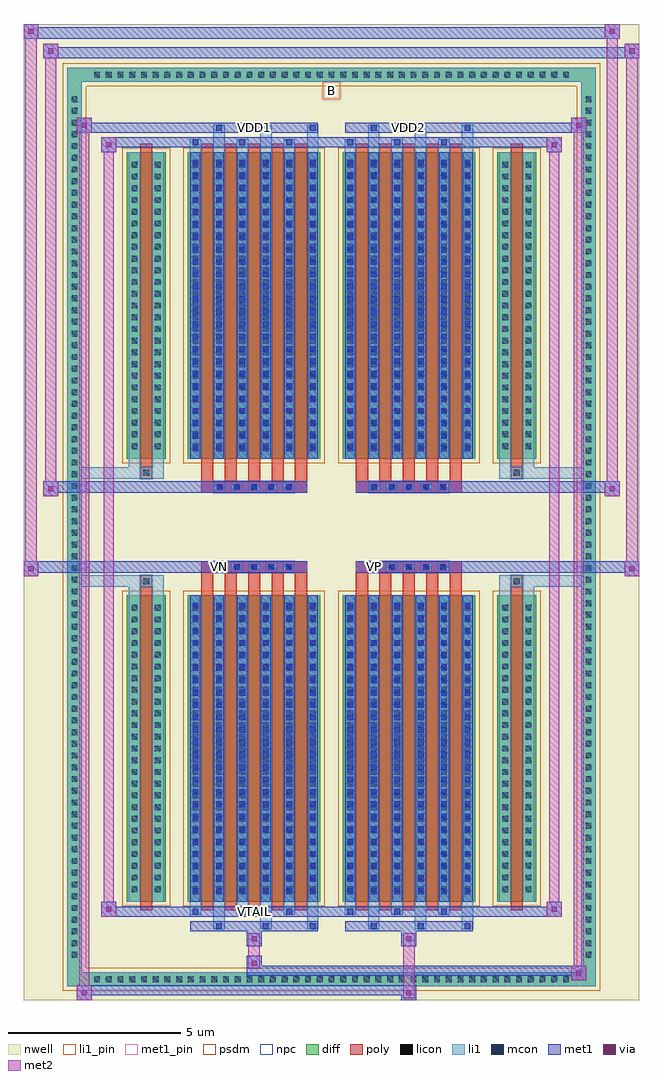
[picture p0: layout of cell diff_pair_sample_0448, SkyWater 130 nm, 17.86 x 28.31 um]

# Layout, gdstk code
import gdstk
lib = gdstk.Library(unit=1e-6, precision=5e-09)
def R(c, l, rs):  # rectangles x0, y0, x1, y1
    for r in rs: c.add(gdstk.rectangle(r[:2], r[2:], *l))
def A(c, l, x, y, w, h, nx, ny, dx, dy):  # array of equal rectangles
    R(c, l, [(x+i*dx, y+j*dy, x+i*dx+w, y+j*dy+h) for i in range(nx) for j in range(ny)])
def P(c, l, *ps):  # polygons
    for p in ps: c.add(gdstk.Polygon(p, *l))
nwell = (64, 20)
diff = (65, 20)
poly = (66, 20)
licon = (66, 44)
li1_pin = (67, 16)
li1 = (67, 20)
mcon = (67, 44)
met1_pin = (68, 16)
met1 = (68, 20)
via = (68, 44)
met2 = (69, 20)
psdm = (94, 20)
npc = (95, 20)

diff_pair_sample_0448 = lib.new_cell('diff_pair_sample_0448')
R(diff_pair_sample_0448, nwell, [(-8.93,-13.72,8.93,14.59), (-6.25,-11.91,-0.01,-0.795), (0.01,-11.91,6.25,-0.795), (-6.25,0.795,-0.01,11.91), (0.01,0.795,6.25,11.91)])
A(diff_pair_sample_0448, diff, -7.005, -13.32, 0.41, 0.41, 41, 2, 0.34, 26.23)
A(diff_pair_sample_0448, diff, -7.66, -12.615, 0.41, 0.41, 1, 74, 0, 0.34)
A(diff_pair_sample_0448, diff, 7.25, -12.615, 0.41, 0.41, 1, 74, 0, 0.34)
R(diff_pair_sample_0448, diff, [(-7.005,-13.32,7.005,-12.91), (-7.66,-12.615,-7.25,12.615), (7.25,-12.615,7.66,12.615), (-5.94,-10.865,-4.81,-1.985), (-4.17,-10.865,-0.32,-1.985), (0.32,-10.865,4.17,-1.985), (4.81,-10.865,5.94,-1.985), (-5.94,1.985,-4.81,10.865), (-4.17,1.985,-0.32,10.865), (0.32,1.985,4.17,10.865), (4.81,1.985,5.94,10.865), (-7.005,12.91,7.005,13.32)])
P(diff_pair_sample_0448, diff, [(7.66,13.32),(-7.66,13.32),(-7.66,-12.91),(-7.25,-12.91),(-7.25,12.91),(7.25,12.91),(7.25,-12.91),(-7.25,-12.91),(-7.66,-12.91),(-7.66,-13.32),(7.66,-13.32)])
A(diff_pair_sample_0448, poly, -3.78, -11.115, 0.35, 9.38, 5, 2, 0.68, 12.85)
A(diff_pair_sample_0448, poly, 0.71, -11.115, 0.35, 9.38, 5, 2, 0.68, 12.85)
A(diff_pair_sample_0448, poly, -3.78, -1.735, 0.35, 0.41, 5, 2, 0.68, 3.06)
A(diff_pair_sample_0448, poly, 0.71, -1.735, 0.35, 0.41, 5, 2, 0.68, 3.06)
A(diff_pair_sample_0448, poly, -3.41, -1.325, 0.33, 0.33, 5, 2, 0.5, 2.32)
A(diff_pair_sample_0448, poly, 1.08, -1.325, 0.33, 0.33, 5, 2, 0.5, 2.32)
R(diff_pair_sample_0448, poly, [(-5.55,-11.115,-5.2,-1.735), (5.2,-11.115,5.55,-1.735), (-5.54,-1.735,-5.21,-1.405), (-5.54,-1.735,-5.21,-1.405), (5.21,-1.735,5.54,-1.405), (5.21,-1.735,5.54,-1.405), (-3.78,-1.325,-0.71,-0.995), (0.71,-1.325,3.78,-0.995), (-3.78,0.995,-0.71,1.325), (0.71,0.995,3.78,1.325), (-5.54,1.405,-5.21,1.735), (-5.54,1.405,-5.21,1.735), (5.21,1.405,5.54,1.735), (5.21,1.405,5.54,1.735), (-5.55,1.735,-5.2,11.115), (5.2,1.735,5.55,11.115)])
A(diff_pair_sample_0448, licon, -6.885, -13.2, 0.17, 0.17, 41, 2, 0.34, 26.23)
A(diff_pair_sample_0448, licon, -7.54, -12.495, 0.17, 0.17, 1, 74, 0, 0.34)
A(diff_pair_sample_0448, licon, 7.37, -12.495, 0.17, 0.17, 1, 74, 0, 0.34)
A(diff_pair_sample_0448, licon, -5.8, -10.59, 0.17, 0.17, 1, 25, 0, 0.34)
A(diff_pair_sample_0448, licon, -5.12, -10.59, 0.17, 0.17, 1, 25, 0, 0.34)
A(diff_pair_sample_0448, licon, -4.03, -10.59, 0.17, 0.17, 6, 25, 0.68, 0.34)
A(diff_pair_sample_0448, licon, 0.46, -10.59, 0.17, 0.17, 6, 25, 0.68, 0.34)
A(diff_pair_sample_0448, licon, 4.95, -10.59, 0.17, 0.17, 1, 25, 0, 0.34)
A(diff_pair_sample_0448, licon, 5.63, -10.59, 0.17, 0.17, 1, 25, 0, 0.34)
A(diff_pair_sample_0448, licon, -3.33, -1.245, 0.17, 0.17, 5, 2, 0.5, 2.32)
A(diff_pair_sample_0448, licon, 1.16, -1.245, 0.17, 0.17, 5, 2, 0.5, 2.32)
A(diff_pair_sample_0448, licon, -5.8, 2.26, 0.17, 0.17, 1, 25, 0, 0.34)
A(diff_pair_sample_0448, licon, -5.12, 2.26, 0.17, 0.17, 1, 25, 0, 0.34)
A(diff_pair_sample_0448, licon, -4.03, 2.26, 0.17, 0.17, 6, 25, 0.68, 0.34)
A(diff_pair_sample_0448, licon, 0.46, 2.26, 0.17, 0.17, 6, 25, 0.68, 0.34)
A(diff_pair_sample_0448, licon, 4.95, 2.26, 0.17, 0.17, 1, 25, 0, 0.34)
A(diff_pair_sample_0448, licon, 5.63, 2.26, 0.17, 0.17, 1, 25, 0, 0.34)
R(diff_pair_sample_0448, licon, [(-5.46,-1.655,-5.29,-1.485), (5.29,-1.655,5.46,-1.485), (-5.46,1.485,-5.29,1.655), (5.29,1.485,5.46,1.655)])
R(diff_pair_sample_0448, li1_pin, [(-0.25,12.41,0.25,12.91)])
A(diff_pair_sample_0448, li1, -6.965, -13.28, 0.33, 0.33, 41, 2, 0.34, 26.23)
A(diff_pair_sample_0448, li1, -7.62, -12.575, 0.33, 0.33, 1, 74, 0, 0.34)
A(diff_pair_sample_0448, li1, 7.29, -12.575, 0.33, 0.33, 1, 74, 0, 0.34)
A(diff_pair_sample_0448, li1, -3.43, -11.67, 0.33, 0.805, 3, 2, 1.36, 22.535)
A(diff_pair_sample_0448, li1, -3.35, -11.67, 0.17, 0.17, 3, 2, 1.36, 23.17)
A(diff_pair_sample_0448, li1, 1.06, -11.67, 0.33, 0.805, 3, 2, 1.36, 22.535)
A(diff_pair_sample_0448, li1, 1.14, -11.67, 0.17, 0.17, 3, 2, 1.36, 23.17)
A(diff_pair_sample_0448, li1, -4.11, -11.24, 0.33, 0.375, 3, 2, 1.36, 22.105)
A(diff_pair_sample_0448, li1, -4.03, -11.24, 0.17, 0.17, 3, 2, 1.36, 22.31)
A(diff_pair_sample_0448, li1, 0.38, -11.24, 0.33, 0.375, 3, 2, 1.36, 22.105)
A(diff_pair_sample_0448, li1, 0.46, -11.24, 0.17, 0.17, 3, 2, 1.36, 22.31)
A(diff_pair_sample_0448, li1, -4.11, -10.865, 0.33, 8.88, 6, 2, 0.68, 12.85)
A(diff_pair_sample_0448, li1, 0.38, -10.865, 0.33, 8.88, 6, 2, 0.68, 12.85)
A(diff_pair_sample_0448, li1, -5.88, -10.67, 0.33, 0.33, 1, 25, 0, 0.34)
A(diff_pair_sample_0448, li1, -5.2, -10.67, 0.33, 0.33, 1, 25, 0, 0.34)
A(diff_pair_sample_0448, li1, -4.11, -10.67, 0.33, 0.33, 6, 25, 0.68, 0.34)
A(diff_pair_sample_0448, li1, 0.38, -10.67, 0.33, 0.33, 6, 25, 0.68, 0.34)
A(diff_pair_sample_0448, li1, 4.87, -10.67, 0.33, 0.33, 1, 25, 0, 0.34)
A(diff_pair_sample_0448, li1, 5.55, -10.67, 0.33, 0.33, 1, 25, 0, 0.34)
A(diff_pair_sample_0448, li1, -4.03, -10.65, 0.17, 0.17, 6, 24, 0.68, 0.36)
A(diff_pair_sample_0448, li1, -4.03, -10.65, 0.17, 8.45, 6, 2, 0.68, 12.85)
A(diff_pair_sample_0448, li1, 0.46, -10.65, 0.17, 0.17, 6, 24, 0.68, 0.36)
A(diff_pair_sample_0448, li1, 0.46, -10.65, 0.17, 8.45, 6, 2, 0.68, 12.85)
A(diff_pair_sample_0448, li1, -3.41, -1.325, 0.33, 0.33, 5, 2, 0.5, 2.32)
A(diff_pair_sample_0448, li1, 1.08, -1.325, 0.33, 0.33, 5, 2, 0.5, 2.32)
A(diff_pair_sample_0448, li1, -5.88, 2.18, 0.33, 0.33, 1, 25, 0, 0.34)
A(diff_pair_sample_0448, li1, -5.2, 2.18, 0.33, 0.33, 1, 25, 0, 0.34)
A(diff_pair_sample_0448, li1, -4.11, 2.18, 0.33, 0.33, 6, 25, 0.68, 0.34)
A(diff_pair_sample_0448, li1, 0.38, 2.18, 0.33, 0.33, 6, 25, 0.68, 0.34)
A(diff_pair_sample_0448, li1, 4.87, 2.18, 0.33, 0.33, 1, 25, 0, 0.34)
A(diff_pair_sample_0448, li1, 5.55, 2.18, 0.33, 0.33, 1, 25, 0, 0.34)
A(diff_pair_sample_0448, li1, -4.03, 2.2, 0.17, 0.17, 6, 24, 0.68, 0.36)
A(diff_pair_sample_0448, li1, 0.46, 2.2, 0.17, 0.17, 6, 24, 0.68, 0.36)
R(diff_pair_sample_0448, li1, [(-7.66,-13.32,-7.25,-12.91), (-7.66,-13.32,-7.25,-12.91), (-7.25,-13.32,7.25,-12.91), (7.25,-13.32,7.66,-12.91), (7.25,-13.32,7.66,-12.91), (-7.66,-12.91,-7.25,12.91), (7.25,-12.91,7.66,12.91), (-5.88,-10.865,-5.55,-1.985), (-5.2,-10.865,-4.87,-1.985), (4.87,-10.865,5.2,-1.985), (5.55,-10.865,5.88,-1.985), (-5.88,-1.985,-5.55,-1.405), (-5.2,-1.985,-4.87,-1.405), (4.87,-1.985,5.2,-1.405), (5.55,-1.985,5.88,-1.405), (-7.66,-1.735,-5.54,-1.405), (-5.88,-1.735,-5.54,-1.405), (-5.54,-1.735,-5.21,-1.405), (-5.21,-1.735,-4.87,-1.405), (4.87,-1.735,5.21,-1.405), (5.21,-1.735,5.54,-1.405), (5.21,-1.735,7.66,-1.405), (5.54,-1.735,5.88,-1.405), (-7.66,1.405,-5.54,1.735), (-5.88,1.405,-5.54,1.735), (-5.88,1.405,-5.55,1.985), (-5.54,1.405,-5.21,1.735), (-5.21,1.405,-4.87,1.735), (-5.2,1.405,-4.87,1.985), (4.87,1.405,5.21,1.735), (4.87,1.405,5.2,1.985), (5.21,1.405,5.54,1.735), (5.21,1.405,7.66,1.735), (5.54,1.405,5.88,1.735), (5.55,1.405,5.88,1.985), (-5.88,1.985,-5.55,10.865), (-5.2,1.985,-4.87,10.865), (4.87,1.985,5.2,10.865), (5.55,1.985,5.88,10.865), (-7.66,12.91,-7.25,13.32), (-7.66,12.91,-7.25,13.32), (-7.25,12.91,7.25,13.32), (7.25,12.91,7.66,13.32), (7.25,12.91,7.66,13.32)])
A(diff_pair_sample_0448, mcon, -3.35, -11.67, 0.17, 0.17, 3, 2, 1.36, 23.17)
A(diff_pair_sample_0448, mcon, 1.14, -11.67, 0.17, 0.17, 3, 2, 1.36, 23.17)
A(diff_pair_sample_0448, mcon, -4.03, -11.24, 0.17, 0.17, 3, 2, 1.36, 22.31)
A(diff_pair_sample_0448, mcon, 0.46, -11.24, 0.17, 0.17, 3, 2, 1.36, 22.31)
A(diff_pair_sample_0448, mcon, -4.03, -10.65, 0.17, 0.17, 6, 24, 0.68, 0.36)
A(diff_pair_sample_0448, mcon, 0.46, -10.65, 0.17, 0.17, 6, 24, 0.68, 0.36)
A(diff_pair_sample_0448, mcon, -3.33, -1.245, 0.17, 0.17, 5, 2, 0.5, 2.32)
A(diff_pair_sample_0448, mcon, 1.16, -1.245, 0.17, 0.17, 5, 2, 0.5, 2.32)
A(diff_pair_sample_0448, mcon, -4.03, 2.2, 0.17, 0.17, 6, 24, 0.68, 0.36)
A(diff_pair_sample_0448, mcon, 0.46, 2.2, 0.17, 0.17, 6, 24, 0.68, 0.36)
R(diff_pair_sample_0448, met1_pin, [(-2.38,-11.28,-2.11,-11.01), (-3.38,-1.285,-3.11,-1.015), (1.11,-1.285,1.38,-1.015), (-2.38,11.46,-2.11,11.73), (2.11,11.46,2.38,11.73)])
A(diff_pair_sample_0448, met1, -3.41, -11.73, 0.29, 0.29, 3, 2, 1.36, 23.17)
A(diff_pair_sample_0448, met1, 1.08, -11.73, 0.29, 0.29, 3, 2, 1.36, 23.17)
A(diff_pair_sample_0448, met1, -4.09, -11.3, 0.29, 0.29, 3, 2, 1.36, 22.31)
A(diff_pair_sample_0448, met1, 0.4, -11.3, 0.29, 0.29, 3, 2, 1.36, 22.31)
A(diff_pair_sample_0448, met1, -4.09, -10.865, 0.29, 8.88, 6, 2, 0.68, 12.85)
A(diff_pair_sample_0448, met1, 0.4, -10.865, 0.29, 8.88, 6, 2, 0.68, 12.85)
A(diff_pair_sample_0448, met1, -4.09, -10.71, 0.29, 0.29, 6, 24, 0.68, 0.36)
A(diff_pair_sample_0448, met1, 0.4, -10.71, 0.29, 0.29, 6, 24, 0.68, 0.36)
A(diff_pair_sample_0448, met1, -3.39, -1.305, 0.29, 0.29, 5, 2, 0.5, 2.32)
A(diff_pair_sample_0448, met1, 1.1, -1.305, 0.29, 0.29, 5, 2, 0.5, 2.32)
A(diff_pair_sample_0448, met1, -4.09, 2.14, 0.29, 0.29, 6, 24, 0.68, 0.36)
A(diff_pair_sample_0448, met1, 0.4, 2.14, 0.29, 0.29, 6, 24, 0.68, 0.36)
R(diff_pair_sample_0448, met1, [(-7.39,-13.72,-6.96,-13.29), (2.03,-13.72,2.46,-13.29), (-7.39,-13.58,2.46,-13.29), (6.96,-13.15,7.39,-12.72), (-2.46,-13.01,7.39,-12.72), (-2.46,-12.87,-2.03,-12.44), (-2.46,-12.16,-2.03,-11.73), (2.03,-12.16,2.46,-11.73), (-4.09,-11.73,-0.4,-11.44), (0.4,-11.73,4.09,-11.44), (-6.68,-11.3,-6.25,-10.87), (-6.68,-11.3,-4.09,-11.01), (-4.09,-11.3,-0.4,-11.01), (-0.4,-11.3,0.4,-11.01), (0.4,-11.3,4.09,-11.01), (4.09,-11.3,6.68,-11.01), (6.25,-11.3,6.68,-10.87), (-8.93,-1.425,-8.5,-0.995), (8.5,-1.425,8.93,-0.995), (-8.93,-1.325,-0.71,-0.995), (-3.78,-1.325,-0.71,-0.995), (0.71,-1.325,3.78,-0.995), (0.71,-1.325,8.93,-0.995), (-8.36,0.895,-7.93,1.325), (7.93,0.895,8.36,1.325), (-8.36,0.995,-3.78,1.325), (-3.78,0.995,-0.71,1.325), (0.71,0.995,3.78,1.325), (3.78,0.995,8.36,1.325), (-6.68,10.87,-6.25,11.3), (6.25,10.87,6.68,11.3), (-6.68,11.01,-4.09,11.3), (-4.09,11.01,-0.4,11.3), (-0.4,11.01,0.4,11.3), (0.4,11.01,4.09,11.3), (4.09,11.01,6.68,11.3), (-7.39,11.44,-6.96,11.87), (-7.39,11.44,-4.09,11.73), (-4.09,11.44,-0.4,11.73), (0.4,11.44,4.09,11.73), (4.09,11.44,7.39,11.73), (6.96,11.44,7.39,11.87), (-8.36,13.59,-7.93,14.02), (-8.36,13.59,-6.25,13.92), (-6.25,13.59,6.25,13.92), (6.25,13.59,8.93,13.92), (8.5,13.59,8.93,14.02), (-8.93,14.16,-8.5,14.59), (-8.93,14.16,-6.25,14.49), (-6.25,14.16,6.25,14.49), (6.25,14.16,8.36,14.49), (7.93,14.16,8.36,14.59)])
R(diff_pair_sample_0448, via, [(-7.25,-13.58,-7.1,-13.43), (2.17,-13.58,2.32,-13.43), (7.1,-13.01,7.25,-12.86), (-2.32,-12.73,-2.17,-12.58), (-2.32,-12.02,-2.17,-11.87), (2.17,-12.02,2.32,-11.87), (-6.54,-11.16,-6.39,-11.01), (6.39,-11.16,6.54,-11.01), (-8.79,-1.285,-8.64,-1.135), (8.64,-1.285,8.79,-1.135), (-8.22,1.035,-8.07,1.185), (8.07,1.035,8.22,1.185), (-6.54,11.01,-6.39,11.16), (6.39,11.01,6.54,11.16), (-7.25,11.58,-7.1,11.73), (7.1,11.58,7.25,11.73), (-8.22,13.73,-8.07,13.88), (8.64,13.73,8.79,13.88), (-8.79,14.3,-8.64,14.45), (8.07,14.3,8.22,14.45)])
R(diff_pair_sample_0448, met2, [(-7.39,-13.72,-6.96,-13.29), (-7.32,-13.72,-7.03,11.87), (-7.03,-13.72,-6.96,-13.29), (-7.34,-13.67,-7.01,-13.34), (2.08,-13.67,2.41,-13.34), (2.08,-13.34,2.41,-12.11), (6.96,-13.15,7.39,-12.72), (7.03,-13.15,7.32,11.87), (7.32,-13.15,7.39,-12.72), (7.01,-13.1,7.34,-12.77), (-2.41,-12.82,-2.08,-12.49), (-2.41,-12.49,-2.08,-12.11), (-2.41,-12.11,-2.08,-11.78), (2.08,-12.11,2.41,-11.78), (-6.68,-11.3,-6.25,-10.87), (-6.61,-11.3,-6.32,11.3), (-6.32,-11.3,-6.25,-10.87), (6.25,-11.3,6.68,-10.87), (6.32,-11.3,6.61,11.3), (6.61,-11.3,6.68,-10.87), (-6.63,-11.25,-6.3,-10.92), (6.3,-11.25,6.63,-10.92), (-8.93,-1.425,-8.5,-0.995), (-8.88,-1.425,-8.55,14.59), (-8.55,-1.425,-8.5,-0.995), (8.5,-1.425,8.93,-0.995), (8.55,-1.425,8.88,14.02), (8.88,-1.425,8.93,-0.995), (-8.88,-1.375,-8.55,-1.045), (8.55,-1.375,8.88,-1.045), (-8.36,0.895,-7.93,1.325), (-8.31,0.895,-7.98,14.02), (-7.98,0.895,-7.93,1.325), (7.93,0.895,8.36,1.325), (7.98,0.895,8.31,14.59), (8.31,0.895,8.36,1.325), (-8.31,0.945,-7.98,1.275), (7.98,0.945,8.31,1.275), (-6.68,10.87,-6.25,11.3), (-6.32,10.87,-6.25,11.3), (6.25,10.87,6.68,11.3), (6.61,10.87,6.68,11.3), (-6.63,10.92,-6.3,11.25), (6.3,10.92,6.63,11.25), (-7.39,11.44,-6.96,11.87), (-7.03,11.44,-6.96,11.87), (6.96,11.44,7.39,11.87), (7.32,11.44,7.39,11.87), (-7.34,11.49,-7.01,11.82), (7.01,11.49,7.34,11.82), (-8.36,13.59,-7.93,14.02), (-7.98,13.59,-7.93,14.02), (8.5,13.59,8.93,14.02), (8.88,13.59,8.93,14.02), (-8.31,13.64,-7.98,13.97), (8.55,13.64,8.88,13.97), (-8.93,14.16,-8.5,14.59), (-8.55,14.16,-8.5,14.59), (7.93,14.16,8.36,14.59), (8.31,14.16,8.36,14.59), (-8.88,14.21,-8.55,14.54), (7.98,14.21,8.31,14.54)])
R(diff_pair_sample_0448, psdm, [(-6.07,-10.995,-4.68,-1.855), (-4.3,-10.995,-0.19,-1.855), (0.19,-10.995,4.3,-1.855), (4.68,-10.995,6.07,-1.855), (-6.07,1.855,-4.68,10.995), (-4.3,1.855,-0.19,10.995), (0.19,1.855,4.3,10.995), (4.68,1.855,6.07,10.995)])
P(diff_pair_sample_0448, psdm, [(7.79,13.45),(-7.79,13.45),(-7.79,-12.78),(-7.12,-12.78),(-7.12,12.78),(7.12,12.78),(7.12,-12.78),(-7.12,-12.78),(-7.79,-12.78),(-7.79,-13.45),(7.79,-13.45)])
A(diff_pair_sample_0448, npc, -3.43, -1.345, 0.37, 0.37, 5, 2, 0.5, 2.32)
A(diff_pair_sample_0448, npc, 1.06, -1.345, 0.37, 0.37, 5, 2, 0.5, 2.32)
R(diff_pair_sample_0448, npc, [(-5.56,-1.755,-5.19,-1.385), (5.19,-1.755,5.56,-1.385), (-3.43,-1.345,-2.56,-0.975), (-3.43,-1.345,-2.56,-0.975), (-2.93,-1.345,-2.06,-0.975), (-2.93,-1.345,-2.06,-0.975), (-2.43,-1.345,-1.56,-0.975), (-2.43,-1.345,-1.56,-0.975), (-1.93,-1.345,-1.06,-0.975), (-1.93,-1.345,-1.06,-0.975), (1.06,-1.345,1.93,-0.975), (1.06,-1.345,1.93,-0.975), (1.56,-1.345,2.43,-0.975), (1.56,-1.345,2.43,-0.975), (2.06,-1.345,2.93,-0.975), (2.06,-1.345,2.93,-0.975), (2.56,-1.345,3.43,-0.975), (2.56,-1.345,3.43,-0.975), (-3.43,0.975,-2.56,1.345), (-3.43,0.975,-2.56,1.345), (-2.93,0.975,-2.06,1.345), (-2.93,0.975,-2.06,1.345), (-2.43,0.975,-1.56,1.345), (-2.43,0.975,-1.56,1.345), (-1.93,0.975,-1.06,1.345), (-1.93,0.975,-1.06,1.345), (1.06,0.975,1.93,1.345), (1.06,0.975,1.93,1.345), (1.56,0.975,2.43,1.345), (1.56,0.975,2.43,1.345), (2.06,0.975,2.93,1.345), (2.06,0.975,2.93,1.345), (2.56,0.975,3.43,1.345), (2.56,0.975,3.43,1.345), (-5.56,1.385,-5.19,1.755), (5.19,1.385,5.56,1.755)])
diff_pair_sample_0448.add(gdstk.Label('VTAIL', (-2.245,-11.145), layer=68, texttype=5))
diff_pair_sample_0448.add(gdstk.Label('VN', (-3.245,-1.15), layer=68, texttype=5))
diff_pair_sample_0448.add(gdstk.Label('VP', (1.245,-1.15), layer=68, texttype=5))
diff_pair_sample_0448.add(gdstk.Label('B', (0,12.66), layer=67, texttype=5))
diff_pair_sample_0448.add(gdstk.Label('VDD2', (2.245,11.595), layer=68, texttype=5))
diff_pair_sample_0448.add(gdstk.Label('VDD1', (-2.245,11.595), layer=68, texttype=5))

lib.write_gds('diff_pair_sample_0448.gds')
